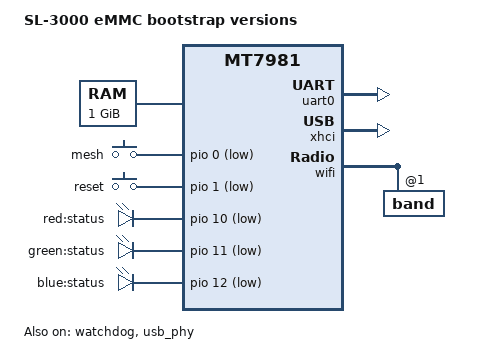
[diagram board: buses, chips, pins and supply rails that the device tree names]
// SPDX-License-Identifier: GPL-2.0-or-later OR MIT
/dts-v1/;

#include <dt-bindings/gpio/gpio.h>
#include <dt-bindings/input/input.h>
#include <dt-bindings/leds/common.h>
#include "mt7981.dtsi"

/ {
	model = "SL-3000 eMMC bootstrap versions";
	compatible = "sl,3000-emmc", "mediatek,mt7981";

	aliases {
		serial0 = &uart0;
		led-boot = &status_red_led;
		led-failsafe = &status_red_led;
		led-running = &status_green_led;
		led-upgrade = &status_blue_led;
	};

	chosen {
		bootargs = "root=PARTLABEL=rootfs rootwait";
		stdout-path = "serial0:115200n8";
	};

	/* 内存 1GB */
	memory@40000000 {
		device_type = "memory";
		reg = <0 0x40000000 0 0x40000000>;
	};

	gpio-keys {
		compatible = "gpio-keys";

		button-mesh {
			label = "mesh";
			linux,code = <BTN_9>;
			linux,input-type = <EV_SW>;
			gpios = <&pio 0 GPIO_ACTIVE_LOW>;
		};

		button-reset {
			label = "reset";
			linux,code = <KEY_RESTART>;
			gpios = <&pio 1 GPIO_ACTIVE_LOW>;
		};
	};

	gpio-leds {
		compatible = "gpio-leds";

		status_red_led: led-0 {
			label = "red:status";
			gpios = <&pio 10 GPIO_ACTIVE_LOW>;
		};

		status_green_led: led-1 {
			label = "green:status";
			gpios = <&pio 11 GPIO_ACTIVE_LOW>;
		};

		status_blue_led: led-2 {
			label = "blue:status";
			gpios = <&pio 12 GPIO_ACTIVE_LOW>;
		};
	};
};

&uart0 { status = "okay"; }
&watchdog { status = "okay"; }
&usb_phy { status = "okay"; }
&xhci { status = "okay"; }

&wifi {
	nvmem-cells = <&eeprom_factory_0>;
	nvmem-cell-names = "eeprom";
	status = "okay";

	band@1 {
		reg = <1>;
		nvmem-cells = <&macaddr_factory_4 1>;
		nvmem-cell-names = "mac-address";
	};
};
